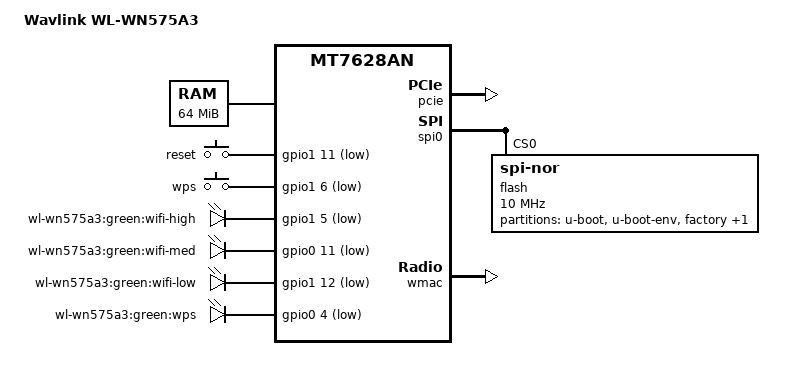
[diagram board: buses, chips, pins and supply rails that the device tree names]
/dts-v1/;
#include <dt-bindings/input/input.h>
#include <dt-bindings/gpio/gpio.h>

#include "mt7628an.dtsi"

/ {
	compatible = "wavlink,wl-wn575a3", "mediatek,mt7628an-soc";
	model = "Wavlink WL-WN575A3";

	chosen {
		bootargs = "console=ttyS0,57600";
	};

	memory@0 {
		device_type = "memory";
		reg = <0x0 0x4000000>;
	};

	keys {
		compatible = "gpio-keys-polled";
		poll-interval = <20>;

		reset {
			label = "reset";
			gpios = <&gpio1 11 GPIO_ACTIVE_LOW>;
			linux,code = <KEY_RESTART>;
		};

		wps {
			label = "wps";
			gpios = <&gpio1 6 GPIO_ACTIVE_LOW>;
			linux,code = <KEY_WPS_BUTTON>;
		};
	};

	leds {
		compatible = "gpio-leds";

		wifi-high {
			label = "wl-wn575a3:green:wifi-high";
			gpios = <&gpio1 5 GPIO_ACTIVE_LOW>;
		};

		wifi-med {
			label = "wl-wn575a3:green:wifi-med";
			gpios = <&gpio0 11 GPIO_ACTIVE_LOW>;
		};

		wifi-low {
			label = "wl-wn575a3:green:wifi-low";
			gpios = <&gpio1 12 GPIO_ACTIVE_LOW>;
		};

		wps {
			label = "wl-wn575a3:green:wps";
			gpios = <&gpio0 4 GPIO_ACTIVE_LOW>;
		};
	};
};

&pinctrl {
	state_default: pinctrl0 {
		gpio {
			ralink,group = "i2c", "wled_an", "gpio", "refclk", "wdt", "p0led_an";
			ralink,function = "gpio";
		};
	};
};

&pcie {
	status = "okay";
};

&pcie0 {
	mt76@0,0 {
		reg = <0x0000 0 0 0 0>;
		mediatek,mtd-eeprom = <&factory 0x8000>;
		ieee80211-freq-limit = <5000000 6000000>;
	};
};

&spi0 {
	status = "okay";

	flash@0 {
		compatible = "jedec,spi-nor";
		reg = <0>;
		spi-max-frequency = <10000000>;

		partitions {
			compatible = "fixed-partitions";
			#address-cells = <1>;
			#size-cells = <1>;

			partition@0 {
				label = "u-boot";
				reg = <0x0 0x30000>;
				read-only;
			};

			partition@30000 {
				label = "u-boot-env";
				reg = <0x30000 0x10000>;
				read-only;
			};

			factory: partition@40000 {
				label = "factory";
				reg = <0x40000 0x10000>;
				read-only;
			};

			partition@50000 {
				compatible = "denx,uimage";
				label = "firmware";
				reg = <0x50000 0x7b0000>;
			};
		};
	};
};

&wmac {
	status = "okay";
};

&ethernet {
	mtd-mac-address = <&factory 0x28>;
	mediatek,portmap = "llllw";
};
